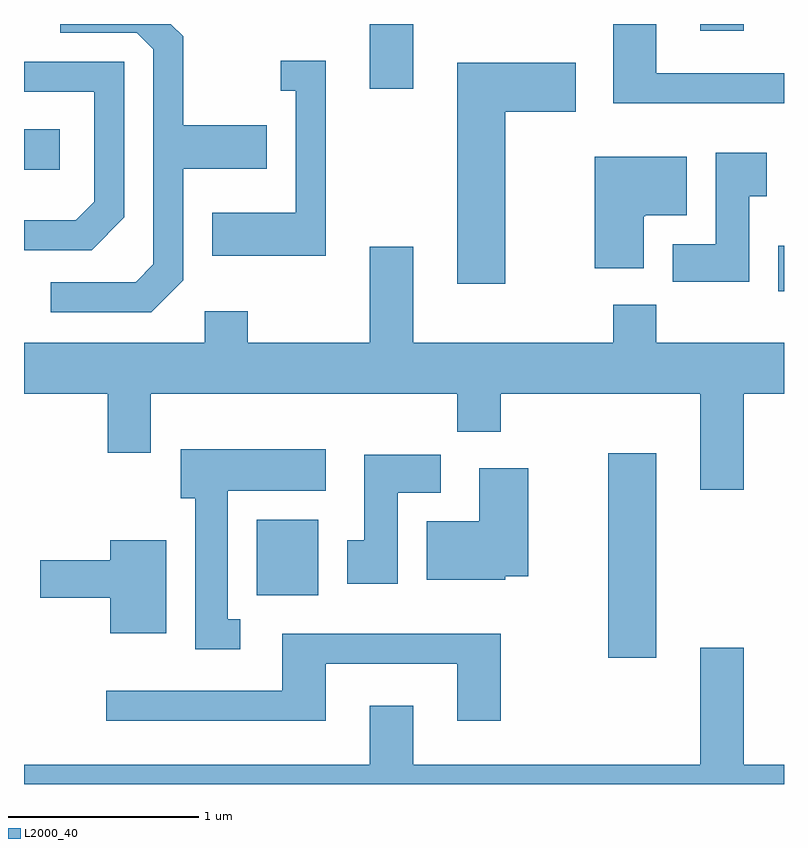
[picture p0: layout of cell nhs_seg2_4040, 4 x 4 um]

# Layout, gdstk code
import gdstk
lib = gdstk.Library(unit=1e-6, precision=1e-09)
def R(c, l, rs):  # rectangles x0, y0, x1, y1
    for r in rs: c.add(gdstk.rectangle(r[:2], r[2:], *l))
def P(c, l, *ps):  # polygons
    for p in ps: c.add(gdstk.Polygon(p, *l))
L2000_40 = (2000, 40)

nhs_seg2_4040 = lib.new_cell('nhs_seg2_4040')
R(nhs_seg2_4040, L2000_40, [(306.686,1062.466,306.939,1063.544), (304.836,1062.796,305.159,1063.194), (307.581,1064.396,307.611,1064.634), (303.611,1065.036,303.799,1065.249), (305.431,1065.461,305.659,1065.802), (307.171,1065.766,307.399,1065.802)])
P(nhs_seg2_4040, L2000_40, [(304.449,1064.454),(304.449,1065.041),(304.889,1065.041),(304.889,1065.269),(304.449,1065.269),(304.449,1065.737),(304.384,1065.802),(303.803,1065.802),(303.803,1065.756),(304.204,1065.756),(304.291,1065.669),(304.291,1064.537),(304.199,1064.444),(303.753,1064.444),(303.753,1064.286),(304.282,1064.286)],
  [(307.611,1065.544),(306.939,1065.544),(306.939,1065.802),(306.711,1065.802),(306.711,1065.386),(307.611,1065.386)],
  [(305.199,1065.609),(304.963,1065.609),(304.963,1065.451),(305.041,1065.451),(305.041,1064.809),(304.601,1064.809),(304.601,1064.581),(305.199,1064.581)],
  [(304.139,1064.784),(304.139,1065.604),(303.611,1065.604),(303.611,1065.446),(303.981,1065.446),(303.981,1064.867),(303.884,1064.769),(303.611,1064.769),(303.611,1064.611),(303.967,1064.611)],
  [(306.144,1065.341),(306.514,1065.341),(306.514,1065.599),(305.891,1065.599),(305.891,1064.436),(306.144,1064.436)],
  [(307.429,1064.896),(307.519,1064.896),(307.519,1065.124),(307.251,1065.124),(307.251,1064.644),(307.026,1064.644),(307.026,1064.446),(307.429,1064.446)],
  [(306.874,1064.79),(306.88,1064.79),(306.88,1064.796),(307.099,1064.796),(307.099,1065.104),(306.616,1065.104),(306.616,1064.516),(306.874,1064.516)],
  [(307.399,1063.856),(307.611,1063.856),(307.611,1064.124),(306.939,1064.124),(306.939,1064.324),(306.711,1064.324),(306.711,1064.124),(305.659,1064.124),(305.659,1064.629),(305.431,1064.629),(305.431,1064.124),(304.789,1064.124),(304.789,1064.289),(304.561,1064.289),(304.561,1064.124),(303.611,1064.124),(303.611,1063.856),(304.051,1063.856),(304.051,1063.546),(304.279,1063.546),(304.279,1063.856),(305.891,1063.856),(305.891,1063.656),(306.119,1063.656),(306.119,1063.856),(307.171,1063.856),(307.171,1063.351),(307.399,1063.351)],
  [(304.748,1062.669),(304.684,1062.669),(304.684,1063.346),(305.199,1063.346),(305.199,1063.564),(304.436,1063.564),(304.436,1063.306),(304.511,1063.306),(304.511,1062.511),(304.748,1062.511)],
  [(305.579,1063.336),(305.804,1063.336),(305.804,1063.534),(305.401,1063.534),(305.401,1063.084),(305.311,1063.084),(305.311,1062.856),(305.579,1062.856)],
  [(306.144,1062.896),(306.264,1062.896),(306.264,1063.464),(306.006,1063.464),(306.006,1063.184),(305.731,1063.184),(305.731,1062.876),(306.144,1062.876)],
  [(304.359,1063.084),(304.066,1063.084),(304.066,1062.979),(303.696,1062.979),(303.696,1062.781),(304.066,1062.781),(304.066,1062.596),(304.359,1062.596)],
  [(305.199,1062.436),(305.891,1062.436),(305.891,1062.136),(306.119,1062.136),(306.119,1062.594),(304.971,1062.594),(304.971,1062.294),(304.043,1062.294),(304.043,1062.136),(305.199,1062.136)],
  [(307.611,1061.904),(307.399,1061.904),(307.399,1062.519),(307.171,1062.519),(307.171,1061.904),(305.659,1061.904),(305.659,1062.214),(305.431,1062.214),(305.431,1061.904),(303.611,1061.904),(303.611,1061.802),(307.611,1061.802)])

lib.write_gds('nhs_seg2_4040.gds')
